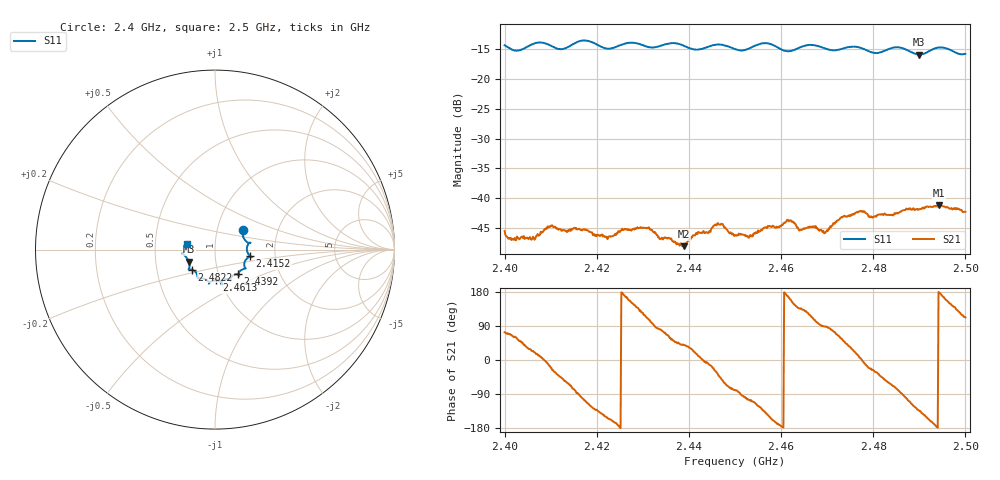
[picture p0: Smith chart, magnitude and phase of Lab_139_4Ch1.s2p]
# Hz S RI R 50
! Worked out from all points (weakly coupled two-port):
!   601 points, 2.4 GHz to 2.5 GHz, reference 50 ohm
!   highest |S21| = -41.18 dB at 2.4943 GHz (marker M1); lowest = -48.0 dB at 2.4388 GHz (marker M2)
!   lowest |S11| = -15.9 dB at 2.4898 GHz (marker M3), VSWR 1.38, Z = 37 - j5.05 ohm
!   |S11| at or under -10 dB: start of sweep to end of sweep
!   S12 and S22 are empty: the file has one direction only
!   S11 on the Smith chart (normalised r, x): 2.4 GHz: 1.33, +0.31; 2.4152 GHz: 1.48, -0.11; 2.4392 GHz: 1.24, -0.35; 2.4613 GHz: 0.96, -0.34; 2.4822 GHz: 0.76, -0.17; 2.5 GHz: 0.73, +0.05
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2.4e9  0.1557 0.1108  0.00154 0.00509  0 0  0 0
2.406167e9  0.1927 0.0368  0.00435 0.00194  0 0  0 0
2.409833e9  0.1882 0.0337  0.00553 -0.00158  0 0  0 0
2.415167e9  0.1951 -0.0362  0.00108 -0.00556  0 0  0 0
2.416667e9  0.2046 -0.0423  -0.000785 -0.0054  0 0  0 0
2.422167e9  0.1685 -0.0623  -0.00412 -0.00229  0 0  0 0
2.430833e9  0.1491 -0.1119  -0.00211 0.00518  0 0  0 0
2.433333e9  0.1322 -0.132  0.000571 0.00467  0 0  0 0
2.438833e9  0.1295 -0.1389  0.00307 0.00252  0 0  0 0
2.439167e9  0.127 -0.1377  0.00315 0.00254  0 0  0 0
2.446e9  0.0854 -0.1739  0.00501 -0.00317  0 0  0 0
2.45e9  0.0686 -0.1639  0.000924 -0.00485  0 0  0 0
2.456667e9  0.039 -0.1953  -0.00437 -0.00361  0 0  0 0
2.461333e9  0.00681 -0.1704  -0.00649 0.00126  0 0  0 0
2.466667e9  -0.0335 -0.1896  -0.00222 0.00532  0 0  0 0
2.4695e9  -0.039 -0.1757  0.000171 0.0051  0 0  0 0
2.476667e9  -0.095 -0.1584  0.00742 0.00164  0 0  0 0
2.482167e9  -0.128 -0.1119  0.00489 -0.00532  0 0  0 0
2.483333e9  -0.1394 -0.1103  0.00369 -0.00624  0 0  0 0
2.489833e9  -0.1455 -0.0664  -0.00543 -0.006  0 0  0 0
2.494333e9  -0.182 -0.0225  -0.00872 0.000419  0 0  0 0
2.5e9  -0.1583 0.0339  -0.00293 0.00713  0 0  0 0
